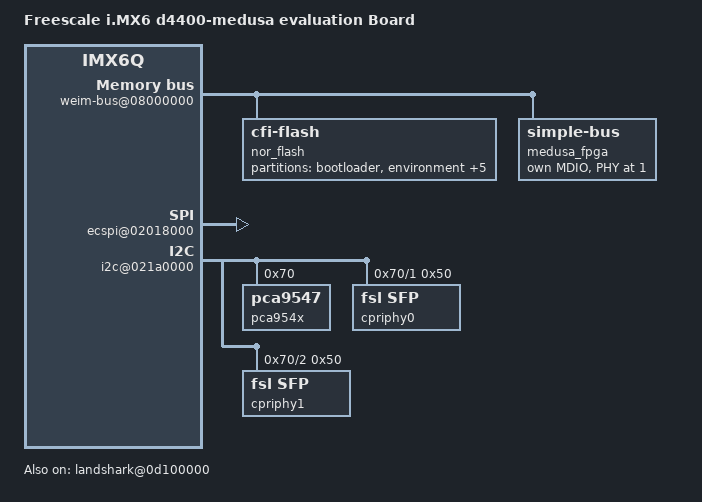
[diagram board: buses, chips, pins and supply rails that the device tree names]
/*
 * Copyright 2013 Freescale Semiconductor, Inc.
 *
 * The code contained herein is licensed under the GNU General Public
 * License. You may obtain a copy of the GNU General Public License
 * Version 2 or later at the following locations:
 *
 * http://www.opensource.org/licenses/gpl-license.html
 * http://www.gnu.org/copyleft/gpl.html
 */

/include/ "imx6q-arm2.dts"

/ {
	model = "Freescale i.MX6 d4400-medusa evaluation Board";
	compatible = "fsl,imx6q-d4400-medusa", "fsl,imx6q";

	soc {

		weim-bus@08000000 {

			nor_flash@08000000 {
				compatible = "cfi-flash";
				bank-width = <2>;
				/* This location refer 64MB of NOR Flash memory*/
				reg = <0x08000000 0x04000000>;
				#address-cells = <1>;
				#size-cells = <1>;
				status = "okay";

			partition@00000000 {
				/* This location must not be altered */
				/* NOR U-Boot Image-512KB */
				reg = <0x00000000 0x00080000>;
				label = "bootloader";
				read-only;
			};
			partition@00080000 {
				/* 128KB of env variables*/
				reg = <0x00080000 0x00020000>;
				label = "environment";
			};
			partition@000A0000 {
				/* 128KB of redundant env variables*/
				reg = <0x000A0000 0x00020000>;
				label = "redundant-environment";
			};
			partition@000C0000 {
				/* 4 MB for Linux Kernel Image */
				reg = <0x000C0000 0x00400000>;
				label = "kernel";
			};
			partition@04C0000 {
				/* 40MB for JFFS2 based Root file System */
				reg = <0x004C0000 0x02800000>;
				label = "filesystem";
			};
			partition@2CC0000 {
				/* 1MB of Device Tree */
				reg = <0x02CC0000 0x00100000>;
				label = "devicetree";
			};
			partition@2DC0000 {
				/* 18MB User Space*/
				reg = <0x02DC0000 0x01240000>;
				label = "user_space";
			};
		};

		medusa_fpga: medusa_fpga@0C000000 {
			compatible = "simple-bus";
			/* This location refer 64MB of WEIM Bus memory*/
			reg = <0x0C000000 0x04000000>;
			#address-cells = <1>;
			#size-cells = <1>;
			ranges;

			#interrupt-cells = <3>;
			interrupt-parent = <&medusa_fpga>;

			interrupt-map-mask = <0 0xf 0xfff 0xf>;
			interrupt-map = <0x0 0 103 0x4 &gpio4 23 0x04>, /* CPRI 1 framer 1 Rx timing */
				<0x0 0 105 0x4 &gpio4 25 0x04>, /* CPRI 1 framer 1 Tx timing */
				<0x0 0 107 0x4 &gpio4 22 0x04>, /* CPRI 1 framer 1 Tx control */
				<0x0 0 109 0x4 &gpio4 24 0x04>, /* CPRI 1 framer 1 Rx control */
				<0x0 0 111 0x4 &gpio4 30 0x04>, /* CPRI 1 Error */
				<0x0 0 138 0x4 &gpio5 14 0x04>, /* JESD Rx1 */
				<0x0 0 151 0x4 &gpio5 17 0x04>, /* JESD Tx1 */
				<0x0 0 215 0x4 &gpio4 27 0x01>, /* eTSEC group0 Rx */
				<0x0 0 216 0x4 &gpio5 11 0x01>, /* eTSEC group0 Tx */
				<0x0 0 217 0x4 &gpio4 26 0x01>; /* eTSEC group0 error */

			cpri@0x0C100000 {
				#address-cells = <1>;
				#size-cells = <1>;
				compatible = "fsl,d4400-cpri";
				id = <1>;
				ranges;
				reg = <0x0C107E00 0x400>;
				status = "okay";
				interrupts = <0 99 0x4>,
					<0 100 0x4>,
					<0 101 0x4>,
					<0 102 0x4>,
					<0 111 0x4>;

			framer0@0x0C100000 {
				reg = <0x0C100000 0x8000>;
				framer-id = <1>;
				max-axcs = <24>;
				memblk-rx = <0xD200000 0x1800 0xD201800 0x1800>;
				memblk-tx = <0xD203000 0x1800 0xD204800 0x1800>;
				local-mac-address = [ 00 00 AB CD 21 AB ];
				interrupts = <0 103 0x4>,
					 <0 105 0x4>,
					 <0 107 0x4>,
					 <0 109 0x4>;
				sfp-handle = <&cpriphy0>;
			};

			framer1@0x0C108000 {
				reg = <0x0C108000 0x8000>;
				framer-id = <2>;
				max-axcs = <24>;
				memblk-rx = <0xD300000 0x1800 0xD301800 0x1800>;
				memblk-tx = <0xD303000 0x1800 0xD304800 0x1800>;
				local-mac-address = [ 00 00 AB CD 21 CD ];
				interrupts = <0 104 0x4>,
					 <0 106 0x4>,
					 <0 108 0x4>,
					 <0 110 0x4>;
				sfp-handle = <&cpriphy1>;
				};
			};

                   vspa@0x0C080000 {
                           compatible = "fsl,vspa";
                           reg = <0x0C080000 0x800>;
                           vsparegstart = <0x0C080000>;
                           vspareglen  = <0x800>;
                           vspadev-id  = <0>;
                           interrupts = <0 252 0x4>,
                                      <0 253 0x4>,
                                      <0 254 0x4>,
                                      <0 255 0x4>;
                           status = "okay";
                   };

			tbgen@0x0C0B4000 {
				#address-cells = <1>;
				#size-cells = <1>;
				compatible = "fsl,d4400-tbgen";
				ranges;
				reg = <0x0C0B4000 0x8000>;
			};

			phy1: phygasket@0x0C0B0000 {
				#address-cells = <1>;
				#size-cells = <1>;
				compatible = "fsl,d4400-phygasket";
				reg = <0x0C0B0000 0x1FFC>;
			};

			jesdtx@0x0C08C000{
				#address-cells = <1>;
				#size-cells = <1>;
				compatible = "fsl,d4400-jesd204-tx";
				ranges;
				reg = <0xC08C000 0x4000>;
				transport0@0x0C08C000{
					reg = <0xC08C000 0x7FC>;
					trans-type = <1>;
					trans-id = <0>;
					phy-gasket = <&phy1>;
					max-lanes = <2>;
					interrupts = <0 151 0x4>;
				};

				transport1@0x0C08C800{
					reg = <0xC08C800 0x7FC>;
					trans-type = <1>;
					trans-id = <1>;
					phy-gasket = <&phy1>;
					max-lanes = <1>;
				};
			};

			jesdrx@0x0C090000{
				#address-cells = <1>;
				#size-cells = <1>;
				compatible = "fsl,d4400-jesd204-rx";
				ranges;
				reg = <0x0C090000 0x4000>;
				transport0@0x0C090000{
					reg = <0xC090000 0x3FF>;
					trans-type = <2>;
					trans-id = <0>;
					phy-gasket = <&phy1>;
					max-lanes = <2>;
					interrupts = <0 138 0x4>;
				};

				transport1@0x0C090400{
					reg = <0xC090400 0x3FF>;
					trans-type = <2>;
					trans-id = <1>;
					phy-gasket = <&phy1>;
					max-lanes = <1>;
				};
			};

			enet0: ethernet@0d480000 {
				#address-cells = <1>;
				#size-cells = <1>;
				device_type = "network";
				model = "eTSEC";
				compatible = "fsl,etsec2";
				fsl,num_rx_queues = <0x01>;
				fsl,num_tx_queues = <0x01>;
				fsl,errata = <0x00000004>;
				local-mac-address = [ 00 00 ab cd 22 ef ];
				phy-handle = <&phy0>;
				phy-connection-type = "rmii";
				reg = <0x0d480000 0x1000>;
				ranges;
				status = "okay";

				queue-group@0 {
					#address-cells = <1>;
					#size-cells = <1>;
					reg-names = "queue-group0";
					reg = <0x0d480000 0x1000>;
					rx-bit-map = <0xFF>;
					tx-bit-map = <0xFF>;
					interrupts = <0 216 0x04>,
						     <0 215 0x04>,
						     <0 217 0x04>;
				};
			};

			mdio@0d484000 {
				#address-cells = <1>;
				#size-cells = <0>;
				compatible = "fsl,etsec2-mdio";
				reg = <0x0d484000 0x4000>;
				status = "okay";

				phy0: smsc-phy@1 {
					reg = <1>;
					device_type = "ethernet-phy";
				};
			};
		};
	};
	aips-bus@02000000 { /* AIPS1 */

		spba-bus@02000000 {

			ecspi@02018000 { /* eCSPI5 */
				#address-cells = <1>;
				#size-cells = <0>;
				status = "okay";
				pinctrl-names = "default";
				pinctrl-0 = <&pinctrl_ecspi5_1>;
				fsl,spi-num-chipselects = <6>;
				fsl,spi-bus-num = <5>;
				cs-gpios = <&gpio1 17 0>,
					<&gpio1 19 0>,
					<&gpio1 21 0>,
					<&gpio1 12 0>;
				cs-mux = <&gpio4 21 0>;
			};
		};
	};

	aips-bus@02100000 { /* AIPS-2 */

		i2c@021a0000 { /* I2C1 */
			#address-cells = <1>;
			#size-cells = <0>;
			pinctrl-names = "default";
			pinctrl-0 = <&pinctrl_i2c1_2>;
			status = "okay";

			pca954x: pca954x@70 {
				#address-cells = <1>;
				#size-cells = <0>;
				 compatible = "pca9547";
				 reg = <0x70>;

				i2c@1 {
					#address-cells = <1>;
					#size-cells = <0>;
					reg = <1>;

					cpriphy0: sfp@0 {
						compatible = "fsl,sfp";
						reg = <0x50>;
						max-addr = <0x2>;
						eeprom = <0x50>;
						diagnostics = <0x51>;
						};
					};

				i2c@2 {
					#address-cells = <1>;
					#size-cells = <0>;
					reg = <2>;

					cpriphy1: sfp@1 {
						compatible = "fsl,sfp";
						reg = <0x50>;
						max-addr = <0x2>;
						eeprom = <0x50>;
						diagnostics = <0x51>;
						};
					};
				};
			};
		};
	};
	landshark@0d100000 { /* LandShark */
		compatible = "fsl,landshark";
		/*16 KB of OCRAM memory*/
		address = <0x0d100000>;
		length = <0x00004000>;
		status = "okay";
	};
};
